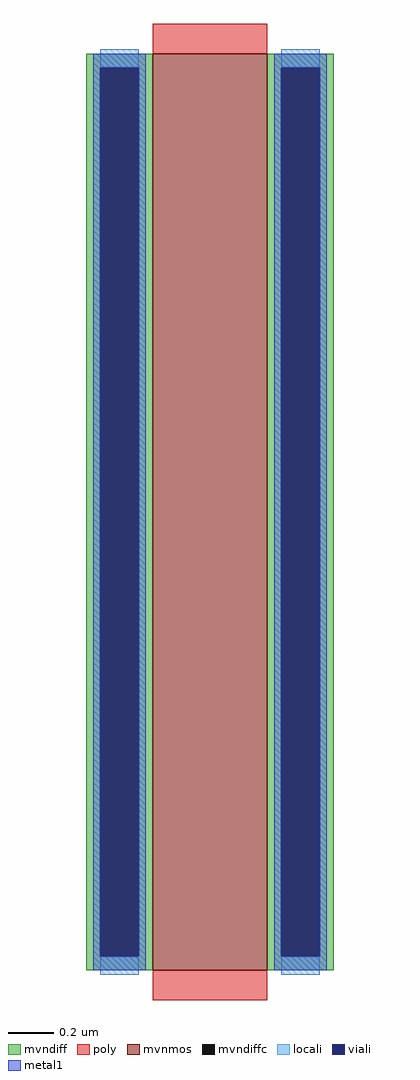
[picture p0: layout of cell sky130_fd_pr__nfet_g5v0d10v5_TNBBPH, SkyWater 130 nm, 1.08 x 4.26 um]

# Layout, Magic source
magic
tech sky130A
<< mvnmos >>
rect -25 -200 25 200
<< mvndiff >>
rect -54 194 -25 200
rect -54 -194 -48 194
rect -31 -194 -25 194
rect -54 -200 -25 -194
rect 25 194 54 200
rect 25 -194 31 194
rect 48 -194 54 194
rect 25 -200 54 -194
<< mvndiffc >>
rect -48 -194 -31 194
rect 31 -194 48 194
<< poly >>
rect -25 200 25 213
rect -25 -213 25 -200
<< locali >>
rect -48 194 -31 202
rect -48 -202 -31 -194
rect 31 194 48 202
rect 31 -202 48 -194
<< viali >>
rect -48 -194 -31 194
rect 31 -194 48 194
<< metal1 >>
rect -51 194 -28 200
rect -51 -194 -48 194
rect -31 -194 -28 194
rect -51 -200 -28 -194
rect 28 194 51 200
rect 28 -194 31 194
rect 48 -194 51 194
rect 28 -200 51 -194
<< properties >>
string gencell sky130_fd_pr__nfet_g5v0d10v5
string library sky130
string parameters w 4 l 0.5 m 1 nf 1 diffcov 100 polycov 100 guard 0 glc 1 grc 1 gtc 1 gbc 1 tbcov 100 rlcov 100 topc 0 botc 0 poverlap 0 doverlap 1 lmin 0.50 wmin 0.42 compatible {sky130_fd_pr__nfet_01v8 sky130_fd_pr__nfet_01v8_lvt  sky130_fd_bs_flash__special_sonosfet_star  sky130_fd_pr__nfet_g5v0d10v5 sky130_fd_pr__nfet_05v0_nvt  sky130_fd_pr__nfet_03v3_nvt} full_metal 1 viasrc 100 viadrn 100 viagate 100 viagb 0 viagr 0 viagl 0 viagt 0
<< end >>
